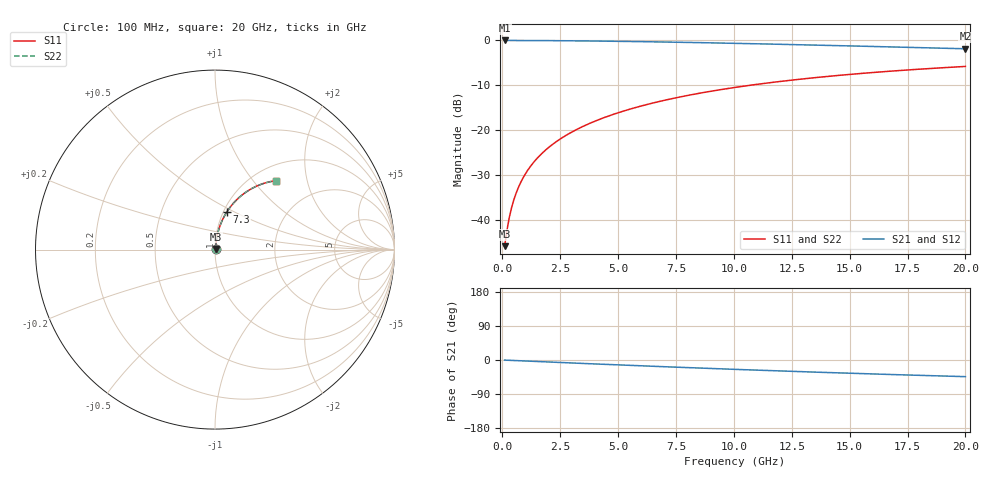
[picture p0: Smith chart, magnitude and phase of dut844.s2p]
! Touchstone file exported from HFSS 2024.1.0
!  File:  C:/UserFiles/LocalFiles/RDL_TSV_Batchsim/temp_RDL_bottom_844_1779863814.aedt
!  Generated:  02:39:42 PM May 27, 2026
!  Design:  RDL_bottom
!  Project:  temp_RDL_bottom_844_1779863814
!  Setup:  Setup1
!  Solution:  Sweep
! Variables:
!  dtsv = 10.80580581um
!  hbump = 3um
!  htsv = 73.97um
!  ldown = 545.13um
!  lrdl = 100um
!  p = 40
!  p1 = 56.52um
!  rhole = 1um
!  t = 450um
!  tdown = 4.61um
!  trdl = 3.915915916um
!  wdown = 10.93um
!  wrdl = 20um
# GHz S MA R 50.000000
! Terminal data exported
! Port[1] = RDL1_T1
! Port[2] = RDL1_T2
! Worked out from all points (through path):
!   200 points, 100 MHz to 20 GHz, reference 50 ohm
!   highest |S21| = -0.03 dB at 100 MHz (marker M1); lowest = -1.9 dB at 20 GHz (marker M2)
!   group delay of S21, straight-line fit = 6.11 ps
!   lowest |S11| = -45.9 dB at 100 MHz (marker M3), VSWR 1.01, Z = 50.4 + j0.326 ohm
!   |S11| at or under -10 dB: start of sweep to 10.75 GHz
!   |S22| runs from -45.9 to -5.8 dB; largest |S21 - S12| = 4e-15
!   S11 on the Smith chart (normalised r, x): 100 MHz: 1.01, +0.01; 7.3 GHz: 1.04, +0.46; 20 GHz: 1.26, +1.31
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0.1  0.005044 39.8  0.9961 -0.3  0.9961 -0.3  0.005044 39.8
! Gamma 0 0 0 0
! Port Impedance 50 0 50 0
0.2  0.007555 58.8  0.9961 -0.5  0.9961 -0.5  0.007554 58.8
0.3  0.01047 67.6  0.996 -0.8  0.996 -0.8  0.01047 67.6
0.4  0.01353 72.4  0.9958 -1.1  0.9958 -1.1  0.01353 72.4
0.5  0.01665 75.3  0.9957 -1.3  0.9957 -1.3  0.01665 75.3
0.6  0.01979 77.2  0.9955 -1.6  0.9955 -1.6  0.01979 77.2
0.8  0.0261 79.4  0.9952 -2.1  0.9952 -2.1  0.02609 79.4
1.1  0.03555 80.9  0.9946 -2.9  0.9946 -2.9  0.03554 80.9
1.5  0.04808 81.5  0.9936 -4.0  0.9936 -4.0  0.04808 81.5
1.8  0.05744 81.5  0.9927 -4.7  0.9927 -4.7  0.05744 81.6
2.1  0.06676 81.4  0.9917 -5.5  0.9917 -5.5  0.06676 81.4
2.7  0.08532 80.8  0.9891 -7.1  0.9891 -7.1  0.08532 80.8
3.5  0.1099 79.6  0.9849 -9.1  0.9849 -9.1  0.1099 79.6
4.2  0.1312 78.4  0.9804 -10.9  0.9804 -10.9  0.1312 78.4
5  0.1553 76.9  0.9746 -12.9  0.9746 -12.9  0.1553 76.9
6.8  0.2083 73.4  0.9592 -17.3  0.9592 -17.3  0.2082 73.4
7.3  0.2226 72.4  0.9544 -18.5  0.9544 -18.5  0.2226 72.4
8.6  0.259 69.8  0.9412 -21.5  0.9412 -21.5  0.259 69.8
10.1  0.2993 66.8  0.9247 -24.8  0.9247 -24.8  0.2993 66.7
13.4  0.3807 60.3  0.8857 -31.8  0.8857 -31.8  0.3806 60.3
16.7  0.4512 54.3  0.8449 -38.1  0.8449 -38.1  0.4512 54.3
20  0.5109 48.7  0.8045 -44.0  0.8045 -44.0  0.5108 48.7
